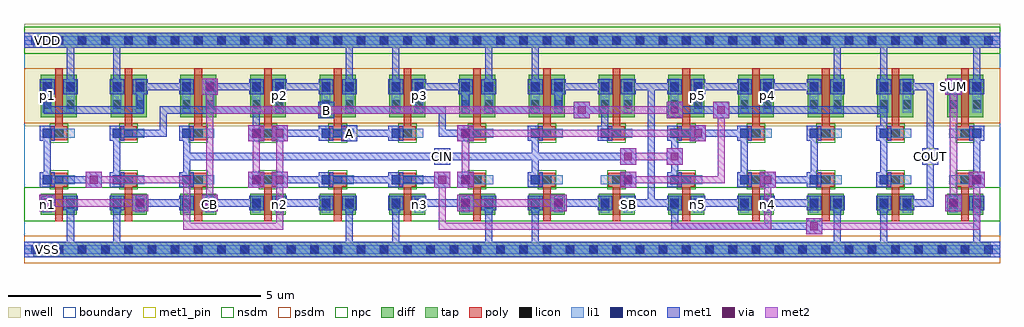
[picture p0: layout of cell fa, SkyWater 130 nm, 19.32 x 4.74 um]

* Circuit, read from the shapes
.subckt fa A B CB CIN COUT SB SUM VDD VSS n1 n2 n3 n4 n5 p1 p2 p3 p4 p5
XM1 VSS A n1 VSS sky130_fd_pr__nfet_01v8 w=0.42 l=0.15
XM2 n1 B VSS VSS sky130_fd_pr__nfet_01v8 w=0.42 l=0.15
XM3 CB CIN n1 VSS sky130_fd_pr__nfet_01v8 w=0.42 l=0.15
XM4 n2 B CB VSS sky130_fd_pr__nfet_01v8 w=0.42 l=0.15
XM5 VSS A n2 VSS sky130_fd_pr__nfet_01v8 w=0.42 l=0.15
XM6 n3 A VSS VSS sky130_fd_pr__nfet_01v8 w=0.42 l=0.15
XM7 VSS B n3 VSS sky130_fd_pr__nfet_01v8 w=0.42 l=0.15
XM8 n3 CIN VSS VSS sky130_fd_pr__nfet_01v8 w=0.42 l=0.15
XM9 SB CB n3 VSS sky130_fd_pr__nfet_01v8 w=0.42 l=0.15
XM10 n5 CIN SB VSS sky130_fd_pr__nfet_01v8 w=0.42 l=0.15
XM11 n4 B n5 VSS sky130_fd_pr__nfet_01v8 w=0.42 l=0.15
XM12 VSS A n4 VSS sky130_fd_pr__nfet_01v8 w=0.42 l=0.15
XM13 COUT CB VSS VSS sky130_fd_pr__nfet_01v8 w=0.42 l=0.15
XM14 VSS SB SUM VSS sky130_fd_pr__nfet_01v8 w=0.42 l=0.15
XM15 VDD A p1 VDD sky130_fd_pr__pfet_01v8 w=0.84 l=0.15
XM16 p1 B VDD VDD sky130_fd_pr__pfet_01v8 w=0.84 l=0.15
XM17 CB CIN p1 VDD sky130_fd_pr__pfet_01v8 w=0.84 l=0.15
XM18 p2 B CB VDD sky130_fd_pr__pfet_01v8 w=0.84 l=0.15
XM19 VDD A p2 VDD sky130_fd_pr__pfet_01v8 w=0.84 l=0.15
XM20 p3 A VDD VDD sky130_fd_pr__pfet_01v8 w=0.84 l=0.15
XM21 VDD B p3 VDD sky130_fd_pr__pfet_01v8 w=0.84 l=0.15
XM22 p3 CIN VDD VDD sky130_fd_pr__pfet_01v8 w=0.84 l=0.15
XM23 SB CB p3 VDD sky130_fd_pr__pfet_01v8 w=0.84 l=0.15
XM24 p5 CIN SB VDD sky130_fd_pr__pfet_01v8 w=0.84 l=0.15
XM25 p4 B p5 VDD sky130_fd_pr__pfet_01v8 w=0.84 l=0.15
XM26 VDD A p4 VDD sky130_fd_pr__pfet_01v8 w=0.84 l=0.15
XM27 COUT CB VDD VDD sky130_fd_pr__pfet_01v8 w=0.84 l=0.15
XM28 VDD SB SUM VDD sky130_fd_pr__pfet_01v8 w=0.84 l=0.15
.ends

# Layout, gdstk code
import gdstk
lib = gdstk.Library(unit=1e-6, precision=1e-09)
def R(c, l, rs):  # rectangles x0, y0, x1, y1
    for r in rs: c.add(gdstk.rectangle(r[:2], r[2:], *l))
def A(c, l, x, y, w, h, nx, ny, dx, dy):  # array of equal rectangles
    R(c, l, [(x+i*dx, y+j*dy, x+i*dx+w, y+j*dy+h) for i in range(nx) for j in range(ny)])
nwell = (64, 20)
diff = (65, 20)
tap = (65, 44)
poly = (66, 20)
licon = (66, 44)
li1 = (67, 20)
mcon = (67, 44)
met1_pin = (68, 16)
met1 = (68, 20)
via = (68, 44)
met2 = (69, 20)
nsdm = (93, 44)
psdm = (94, 20)
npc = (95, 20)
boundary = (235, 4)

c_fa = lib.new_cell('fa')
R(c_fa, nwell, [(0,2.44,19.32,4.465)])
A(c_fa, diff, 0.335, 0.685, 0.71, 0.42, 14, 1, 1.38, 0)
A(c_fa, diff, 0.335, 2.62, 0.71, 0.84, 14, 1, 1.38, 0)
R(c_fa, tap, [(0.18,-0.145,19.14,0.145), (0.18,3.995,19.14,4.285)])
A(c_fa, poly, 0.615, 0.555, 0.15, 0.825, 14, 1, 1.38, 0)
A(c_fa, poly, 0.525, 1.245, 0.33, 0.27, 14, 2, 1.38, 0.92)
A(c_fa, poly, 0.615, 2.3, 0.15, 1.29, 14, 1, 1.38, 0)
A(c_fa, licon, 0.605, -0.085, 0.17, 0.17, 40, 2, 0.46, 4.14)
A(c_fa, licon, 0.605, 1.295, 0.17, 0.17, 14, 2, 1.38, 0.92)
R(c_fa, licon, [(0.375,0.81,0.545,0.98), (0.835,0.81,1.005,0.98), (1.755,0.81,1.925,0.98), (2.215,0.81,2.385,0.98), (3.135,0.81,3.305,0.98), (3.595,0.81,3.765,0.98), (4.515,0.81,4.685,0.98), (4.975,0.81,5.145,0.98), (5.895,0.81,6.065,0.98), (6.355,0.81,6.525,0.98), (7.275,0.81,7.445,0.98), (7.735,0.81,7.905,0.98), (8.655,0.81,8.825,0.98), (9.115,0.81,9.285,0.98), (10.035,0.81,10.205,0.98), (10.495,0.81,10.665,0.98), (11.415,0.81,11.585,0.98), (11.875,0.81,12.045,0.98), (12.795,0.81,12.965,0.98), (13.255,0.81,13.425,0.98), (14.175,0.81,14.345,0.98), (14.635,0.81,14.805,0.98), (15.555,0.81,15.725,0.98), (16.015,0.81,16.185,0.98), (16.935,0.81,17.105,0.98), (17.395,0.81,17.565,0.98), (18.315,0.81,18.485,0.98), (18.775,0.81,18.945,0.98), (0.375,2.785,0.545,2.955), (0.835,2.785,1.005,2.955), (1.755,2.785,1.925,2.955), (2.215,2.785,2.385,2.955), (3.135,2.785,3.305,2.955), (3.595,2.785,3.765,2.955), (4.515,2.785,4.685,2.955), (4.975,2.785,5.145,2.955), (5.895,2.785,6.065,2.955), (6.355,2.785,6.525,2.955), (7.275,2.785,7.445,2.955), (7.735,2.785,7.905,2.955), (8.655,2.785,8.825,2.955), (9.115,2.785,9.285,2.955), (10.035,2.785,10.205,2.955), (10.495,2.785,10.665,2.955), (11.415,2.785,11.585,2.955), (11.875,2.785,12.045,2.955), (12.795,2.785,12.965,2.955), (13.255,2.785,13.425,2.955), (14.175,2.785,14.345,2.955), (14.635,2.785,14.805,2.955), (15.555,2.785,15.725,2.955), (16.015,2.785,16.185,2.955), (16.935,2.785,17.105,2.955), (17.395,2.785,17.565,2.955), (18.315,2.785,18.485,2.955), (18.775,2.785,18.945,2.955), (0.375,3.125,0.545,3.295), (0.835,3.125,1.005,3.295), (1.755,3.125,1.925,3.295), (2.215,3.125,2.385,3.295), (3.135,3.125,3.305,3.295), (3.595,3.125,3.765,3.295), (4.515,3.125,4.685,3.295), (4.975,3.125,5.145,3.295), (5.895,3.125,6.065,3.295), (6.355,3.125,6.525,3.295), (7.275,3.125,7.445,3.295), (7.735,3.125,7.905,3.295), (8.655,3.125,8.825,3.295), (9.115,3.125,9.285,3.295), (10.035,3.125,10.205,3.295), (10.495,3.125,10.665,3.295), (11.415,3.125,11.585,3.295), (11.875,3.125,12.045,3.295), (12.795,3.125,12.965,3.295), (13.255,3.125,13.425,3.295), (14.175,3.125,14.345,3.295), (14.635,3.125,14.805,3.295), (15.555,3.125,15.725,3.295), (16.015,3.125,16.185,3.295), (16.935,3.125,17.105,3.295), (17.395,3.125,17.565,3.295), (18.315,3.125,18.485,3.295), (18.775,3.125,18.945,3.295)])
A(c_fa, li1, 0.375, 1.295, 0.63, 0.17, 14, 2, 1.38, 0.92)
R(c_fa, li1, [(0,-0.085,19.32,0.085), (0.375,0.73,0.545,1.06), (0.835,0.73,1.005,1.06), (1.755,0.73,1.925,1.06), (2.215,0.73,2.385,1.06), (3.135,0.73,3.305,1.06), (3.595,0.73,3.765,1.06), (4.515,0.73,4.685,1.06), (4.975,0.73,5.145,1.06), (5.895,0.73,6.065,1.06), (6.355,0.73,6.525,1.06), (7.275,0.73,7.445,1.06), (7.735,0.73,7.905,1.06), (8.655,0.73,8.825,1.06), (9.115,0.73,9.285,1.06), (10.035,0.73,10.205,1.06), (10.495,0.73,10.665,1.06), (11.415,0.73,11.585,1.06), (11.875,0.73,12.045,1.06), (12.795,0.73,12.965,1.06), (13.255,0.73,13.425,1.06), (14.175,0.73,14.345,1.06), (14.635,0.73,14.805,1.06), (15.555,0.73,15.725,1.06), (16.015,0.73,16.185,1.06), (16.935,0.73,17.105,1.06), (17.395,0.73,17.565,1.06), (18.315,0.73,18.485,1.06), (18.775,0.73,18.945,1.06), (0.375,2.705,0.545,3.375), (0.835,2.705,1.005,3.375), (1.755,2.705,1.925,3.375), (2.215,2.705,2.385,3.375), (3.135,2.705,3.305,3.375), (3.595,2.705,3.765,3.375), (4.515,2.705,4.685,3.375), (4.975,2.705,5.145,3.375), (5.895,2.705,6.065,3.375), (6.355,2.705,6.525,3.375), (7.275,2.705,7.445,3.375), (7.735,2.705,7.905,3.375), (8.655,2.705,8.825,3.375), (9.115,2.705,9.285,3.375), (10.035,2.705,10.205,3.375), (10.495,2.705,10.665,3.375), (11.415,2.705,11.585,3.375), (11.875,2.705,12.045,3.375), (12.795,2.705,12.965,3.375), (13.255,2.705,13.425,3.375), (14.175,2.705,14.345,3.375), (14.635,2.705,14.805,3.375), (15.555,2.705,15.725,3.375), (16.015,2.705,16.185,3.375), (16.935,2.705,17.105,3.375), (17.395,2.705,17.565,3.375), (18.315,2.705,18.485,3.375), (18.775,2.705,18.945,3.375), (0,4.055,19.32,4.225)])
A(c_fa, mcon, 0.145, -0.085, 0.17, 0.17, 42, 2, 0.46, 4.14)
A(c_fa, mcon, 0.375, 1.295, 0.17, 0.17, 8, 1, 1.38, 0)
A(c_fa, mcon, 12.795, 1.295, 0.17, 0.17, 4, 1, 1.38, 0)
A(c_fa, mcon, 18.775, 1.295, 0.17, 0.17, 1, 3, 0, 0.92)
A(c_fa, mcon, 0.375, 2.215, 0.17, 0.17, 13, 1, 1.38, 0)
R(c_fa, mcon, [(0.375,0.835,0.545,1.005), (0.835,0.835,1.005,1.005), (1.755,0.835,1.925,1.005), (2.215,0.835,2.385,1.005), (3.135,0.835,3.305,1.005), (3.595,0.835,3.765,1.005), (4.515,0.835,4.685,1.005), (4.975,0.835,5.145,1.005), (5.895,0.835,6.065,1.005), (6.355,0.835,6.525,1.005), (7.275,0.835,7.445,1.005), (7.735,0.835,7.905,1.005), (8.655,0.835,8.825,1.005), (9.115,0.835,9.285,1.005), (10.035,0.835,10.205,1.005), (10.495,0.835,10.665,1.005), (11.415,0.835,11.585,1.005), (11.875,0.835,12.045,1.005), (12.795,0.835,12.965,1.005), (13.255,0.835,13.425,1.005), (14.175,0.835,14.345,1.005), (14.635,0.835,14.805,1.005), (15.555,0.835,15.725,1.005), (16.015,0.835,16.185,1.005), (16.935,0.835,17.105,1.005), (17.395,0.835,17.565,1.005), (18.315,0.835,18.485,1.005), (18.775,0.835,18.945,1.005), (11.875,1.295,12.045,1.465), (0.375,3.135,0.545,3.305), (0.835,3.135,1.005,3.305), (1.755,3.135,1.925,3.305), (2.215,3.135,2.385,3.305), (3.135,3.135,3.305,3.305), (3.595,3.135,3.765,3.305), (4.515,3.135,4.685,3.305), (4.975,3.135,5.145,3.305), (5.895,3.135,6.065,3.305), (6.355,3.135,6.525,3.305), (7.275,3.135,7.445,3.305), (7.735,3.135,7.905,3.305), (8.655,3.135,8.825,3.305), (9.115,3.135,9.285,3.305), (10.035,3.135,10.205,3.305), (10.495,3.135,10.665,3.305), (11.415,3.135,11.585,3.305), (11.875,3.135,12.045,3.305), (12.795,3.135,12.965,3.305), (13.255,3.135,13.425,3.305), (14.175,3.135,14.345,3.305), (14.635,3.135,14.805,3.305), (15.555,3.135,15.725,3.305), (16.015,3.135,16.185,3.305), (16.935,3.135,17.105,3.305), (17.395,3.135,17.565,3.305), (18.315,3.135,18.485,3.305)])
R(c_fa, met1_pin, [(0.315,-0.15,0.605,0.15), (8.12,1.68,8.44,2), (17.78,1.68,18.1,2), (6.28,2.14,6.6,2.46), (5.82,2.6,6.14,2.92), (18.24,3.06,18.56,3.38), (0.315,3.99,0.605,4.29)])
A(c_fa, met1, 2.23, 0.85, 1.06, 0.14, 3, 2, 1.38, 2.3)
A(c_fa, met1, 10.51, 0.85, 1.06, 0.14, 4, 1, 1.38, 0)
A(c_fa, met1, 0.315, 1.235, 0.29, 0.29, 8, 1, 1.38, 0)
A(c_fa, met1, 12.735, 1.235, 0.29, 0.29, 4, 1, 1.38, 0)
A(c_fa, met1, 18.715, 1.235, 0.29, 0.29, 1, 3, 0, 0.92)
A(c_fa, met1, 0.39, 1.31, 0.14, 1.06, 3, 1, 1.38, 0)
A(c_fa, met1, 14.19, 1.31, 0.14, 1.06, 3, 1, 1.38, 0)
A(c_fa, met1, 0.315, 2.155, 0.29, 0.29, 13, 1, 1.38, 0)
A(c_fa, met1, 7.75, 3.15, 1.06, 0.14, 3, 1, 2.76, 0)
R(c_fa, met1, [(0,-0.15,19.32,0.15), (0.85,-0.07,0.99,0.99), (0.85,-0.07,0.99,0.07), (1.77,-0.07,1.91,0.99), (1.77,-0.07,1.91,0.07), (6.37,-0.07,6.51,0.99), (6.37,-0.07,6.51,0.07), (7.29,-0.07,7.43,0.99), (7.29,-0.07,7.43,0.07), (9.13,-0.07,9.27,0.99), (9.13,-0.07,9.27,0.07), (10.05,-0.07,10.19,0.99), (10.05,-0.07,10.19,0.07), (16.03,-0.07,16.17,0.99), (16.03,-0.07,16.17,0.07), (16.95,-0.07,17.09,0.99), (16.95,-0.07,17.09,0.07), (18.79,-0.07,18.93,0.99), (18.79,-0.07,18.93,0.07), (15.48,0.3,15.8,0.62), (12.81,0.39,15.71,0.53), (12.81,0.39,12.95,0.99), (0.3,0.76,0.62,1.08), (2.14,0.76,2.46,1.08), (3.52,0.76,3.84,1.08), (8.58,0.76,8.9,1.08), (10.42,0.76,10.74,1.08), (18.24,0.76,18.56,1.08), (0.315,0.775,0.605,1.065), (0.775,0.775,1.065,1.065), (1.695,0.775,1.985,1.065), (2.155,0.775,2.445,1.065), (3.075,0.775,3.365,1.065), (3.535,0.775,3.825,1.065), (4.455,0.775,4.745,1.065), (4.915,0.775,5.205,1.065), (5.835,0.775,6.125,1.065), (6.295,0.775,6.585,1.065), (7.215,0.775,7.505,1.065), (7.675,0.775,7.965,1.065), (8.595,0.775,8.885,1.065), (9.055,0.775,9.345,1.065), (9.975,0.775,10.265,1.065), (10.435,0.775,10.725,1.065), (11.355,0.775,11.645,1.065), (11.815,0.775,12.105,1.065), (12.735,0.775,13.025,1.065), (13.195,0.775,13.485,1.065), (14.115,0.775,14.405,1.065), (14.575,0.775,14.865,1.065), (15.495,0.775,15.785,1.065), (15.955,0.775,16.245,1.065), (16.875,0.775,17.165,1.065), (17.335,0.775,17.625,1.065), (18.255,0.775,18.545,1.065), (18.715,0.775,19.005,1.065), (7.75,0.85,8.81,0.99), (12.35,0.85,12.49,3.29), (17.41,0.85,18.01,0.99), (17.87,0.85,18.01,3.29), (1.22,1.22,1.54,1.54), (4.44,1.22,4.76,1.54), (4.9,1.22,5.22,1.54), (8.12,1.22,8.44,1.54), (8.58,1.22,8.9,1.54), (11.8,1.22,12.12,1.54), (14.56,1.22,14.88,1.54), (18.7,1.22,19.02,1.54), (11.815,1.235,12.105,1.525), (0.39,1.31,1.45,1.45), (4.99,1.31,6.05,1.45), (5.91,1.31,7.43,1.45), (7.29,1.31,8.35,1.45), (10.05,1.31,10.19,1.91), (12.81,1.31,12.95,1.91), (14.65,1.31,15.71,1.45), (18.79,1.31,18.93,2.37), (8.12,1.68,8.44,2), (11.8,1.68,12.12,2), (12.72,1.68,13.04,2), (17.78,1.68,18.1,2), (3.15,1.77,10.19,1.91), (10.05,1.77,12.03,1.91), (10.05,1.77,10.19,2.37), (12.81,1.77,12.95,2.37), (4.44,2.14,4.76,2.46), (4.9,2.14,5.22,2.46), (6.28,2.14,6.6,2.46), (8.58,2.14,8.9,2.46), (13.18,2.14,13.5,2.46), (1.77,2.23,2.83,2.37), (2.69,2.23,2.83,2.83), (4.53,2.23,4.67,2.83), (4.99,2.23,6.05,2.37), (5.91,2.23,7.43,2.37), (8.21,2.23,8.35,2.83), (8.21,2.23,8.81,2.37), (11.43,2.23,11.57,2.83), (13.27,2.23,14.33,2.37), (16.95,2.23,17.09,2.83), (5.82,2.6,6.14,2.92), (10.88,2.6,11.2,2.92), (12.72,2.6,13.04,2.92), (13.64,2.6,13.96,2.92), (0.39,2.69,2.37,2.83), (0.39,2.69,0.53,3.29), (2.23,2.69,2.37,3.29), (2.69,2.69,4.67,2.83), (4.53,2.69,8.35,2.83), (8.67,2.69,10.65,2.83), (8.67,2.69,8.81,3.29), (10.51,2.69,10.65,3.29), (10.97,2.69,11.57,2.83), (12.81,2.69,17.09,2.83), (3.52,3.06,3.84,3.38), (18.24,3.06,18.56,3.38), (18.24,3.06,18.56,3.38), (0.315,3.075,0.605,3.365), (0.775,3.075,1.065,3.365), (1.695,3.075,1.985,3.365), (2.155,3.075,2.445,3.365), (3.075,3.075,3.365,3.365), (3.535,3.075,3.825,3.365), (4.455,3.075,4.745,3.365), (4.915,3.075,5.205,3.365), (5.835,3.075,6.125,3.365), (6.295,3.075,6.585,3.365), (7.215,3.075,7.505,3.365), (7.675,3.075,7.965,3.365), (8.595,3.075,8.885,3.365), (9.055,3.075,9.345,3.365), (9.975,3.075,10.265,3.365), (10.435,3.075,10.725,3.365), (11.355,3.075,11.645,3.365), (11.815,3.075,12.105,3.365), (12.735,3.075,13.025,3.365), (13.195,3.075,13.485,3.365), (14.115,3.075,14.405,3.365), (14.575,3.075,14.865,3.365), (15.495,3.075,15.785,3.365), (15.955,3.075,16.245,3.365), (16.875,3.075,17.165,3.365), (17.335,3.075,17.625,3.365), (18.255,3.075,18.545,3.365), (0.85,3.15,0.99,4.21), (1.77,3.15,1.91,4.21), (6.37,3.15,6.51,4.21), (7.29,3.15,7.43,4.21), (9.13,3.15,9.27,4.21), (10.05,3.15,10.19,4.21), (11.89,3.15,12.49,3.29), (12.35,3.15,12.95,3.29), (14.65,3.15,15.71,3.29), (16.03,3.15,16.17,4.21), (16.95,3.15,17.09,4.21), (17.41,3.15,18.01,3.29), (18.79,3.15,18.93,4.21), (0,3.99,19.32,4.29), (0.85,4.07,0.99,4.21), (1.77,4.07,1.91,4.21), (6.37,4.07,6.51,4.21), (7.29,4.07,7.43,4.21), (9.13,4.07,9.27,4.21), (10.05,4.07,10.19,4.21), (16.03,4.07,16.17,4.21), (16.95,4.07,17.09,4.21), (18.79,4.07,18.93,4.21)])
R(c_fa, via, [(15.565,0.385,15.715,0.535), (0.385,0.845,0.535,0.995), (2.225,0.845,2.375,0.995), (3.605,0.845,3.755,0.995), (8.665,0.845,8.815,0.995), (10.505,0.845,10.655,0.995), (18.325,0.845,18.475,0.995), (1.305,1.305,1.455,1.455), (4.525,1.305,4.675,1.455), (4.985,1.305,5.135,1.455), (8.205,1.305,8.355,1.455), (8.665,1.305,8.815,1.455), (11.885,1.305,12.035,1.455), (14.645,1.305,14.795,1.455), (18.785,1.305,18.935,1.455), (11.885,1.765,12.035,1.915), (12.805,1.765,12.955,1.915), (4.525,2.225,4.675,2.375), (4.985,2.225,5.135,2.375), (8.665,2.225,8.815,2.375), (13.265,2.225,13.415,2.375), (10.965,2.685,11.115,2.835), (12.805,2.685,12.955,2.835), (13.725,2.685,13.875,2.835), (3.605,3.145,3.755,3.295), (18.325,3.145,18.475,3.295)])
R(c_fa, met2, [(15.48,0.3,15.8,0.62), (3.15,0.39,5.13,0.53), (3.15,0.39,3.29,1.45), (4.99,0.39,5.13,1.45), (8.21,0.39,8.35,1.45), (8.21,0.39,14.79,0.53), (14.65,0.39,14.79,1.45), (15.57,0.39,18.93,0.53), (18.79,0.39,18.93,1.45), (0.3,0.76,0.62,1.08), (2.14,0.76,2.46,1.08), (3.52,0.76,3.84,1.08), (8.58,0.76,8.9,1.08), (10.42,0.76,10.74,1.08), (18.24,0.76,18.56,1.08), (0.39,0.85,2.37,0.99), (3.61,0.85,3.75,3.29), (8.67,0.85,10.65,0.99), (18.33,0.85,18.47,3.29), (1.22,1.22,1.54,1.54), (4.44,1.22,4.76,1.54), (4.9,1.22,5.22,1.54), (8.12,1.22,8.44,1.54), (8.58,1.22,8.9,1.54), (11.8,1.22,12.12,1.54), (14.56,1.22,14.88,1.54), (18.7,1.22,19.02,1.54), (1.31,1.31,3.29,1.45), (4.53,1.31,4.67,2.37), (4.99,1.31,5.13,2.37), (8.67,1.31,8.81,2.37), (11.89,1.31,13.87,1.45), (13.73,1.31,13.87,2.83), (11.8,1.68,12.12,2), (12.72,1.68,13.04,2), (11.89,1.77,12.95,1.91), (4.44,2.14,4.76,2.46), (4.9,2.14,5.22,2.46), (8.58,2.14,8.9,2.46), (13.18,2.14,13.5,2.46), (8.67,2.23,13.41,2.37), (10.88,2.6,11.2,2.92), (12.72,2.6,13.04,2.92), (13.64,2.6,13.96,2.92), (3.61,2.69,11.11,2.83), (10.97,2.69,12.95,2.83), (3.52,3.06,3.84,3.38), (18.24,3.06,18.56,3.38)])
R(c_fa, nsdm, [(0,0.56,19.32,1.23), (0,3.87,19.32,4.41)])
R(c_fa, psdm, [(0,-0.27,19.32,0.27), (0,2.495,19.32,3.585)])
A(c_fa, npc, 0.505, 1.195, 0.37, 0.37, 14, 2, 1.38, 0.92)
R(c_fa, boundary, [(0,0,19.32,4.14)])
c_fa.add(gdstk.Label('n1', (0.46,0.895), layer=67, texttype=5))
c_fa.add(gdstk.Label('CB', (3.68,0.895), layer=67, texttype=5))
c_fa.add(gdstk.Label('n2', (5.06,0.895), layer=67, texttype=5))
c_fa.add(gdstk.Label('n3', (7.82,0.895), layer=67, texttype=5))
c_fa.add(gdstk.Label('SB', (11.96,0.895), layer=67, texttype=5))
c_fa.add(gdstk.Label('n5', (13.34,0.895), layer=67, texttype=5))
c_fa.add(gdstk.Label('n4', (14.72,0.895), layer=67, texttype=5))
c_fa.add(gdstk.Label('p1', (0.46,3.04), layer=67, texttype=5))
c_fa.add(gdstk.Label('p2', (5.06,3.04), layer=67, texttype=5))
c_fa.add(gdstk.Label('p3', (7.82,3.04), layer=67, texttype=5))
c_fa.add(gdstk.Label('p5', (13.34,3.04), layer=67, texttype=5))
c_fa.add(gdstk.Label('p4', (14.72,3.04), layer=67, texttype=5))
c_fa.add(gdstk.Label('VSS', (0.46,0), layer=68, texttype=5))
c_fa.add(gdstk.Label('VDD', (0.46,4.14), layer=68, texttype=5))
c_fa.add(gdstk.Label('COUT', (17.94,1.84), layer=68, texttype=5))
c_fa.add(gdstk.Label('SUM', (18.4,3.22), layer=68, texttype=5))
c_fa.add(gdstk.Label('A', (6.44,2.3), layer=68, texttype=5))
c_fa.add(gdstk.Label('B', (5.98,2.76), layer=68, texttype=5))
c_fa.add(gdstk.Label('CIN', (8.28,1.84), layer=68, texttype=5))
c_fa.add(gdstk.Label('VSS', (0.46,0), layer=68, texttype=16))
c_fa.add(gdstk.Label('VDD', (0.46,4.14), layer=68, texttype=16))
c_fa.add(gdstk.Label('COUT', (17.94,1.84), layer=68, texttype=16))
c_fa.add(gdstk.Label('SUM', (18.4,3.22), layer=68, texttype=16))
c_fa.add(gdstk.Label('A', (6.44,2.3), layer=68, texttype=16))
c_fa.add(gdstk.Label('B', (5.98,2.76), layer=68, texttype=16))
c_fa.add(gdstk.Label('CIN', (8.28,1.84), layer=68, texttype=16))

lib.write_gds('fa.gds')
